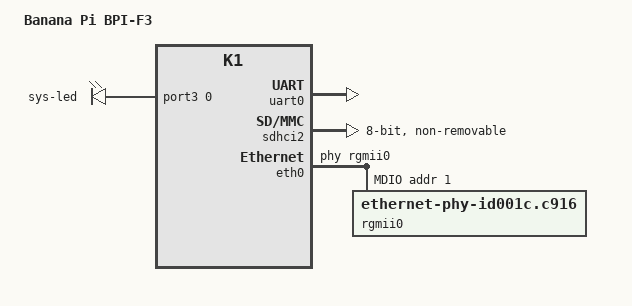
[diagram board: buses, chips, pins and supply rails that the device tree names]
// SPDX-License-Identifier: GPL-2.0 OR MIT
/*
 * Copyright (C) 2024 Yangyu Chen <cyy@cyyself.name>
 */

#include "k1.dtsi"
#include "k1-pinctrl.dtsi"

/ {
	model = "Banana Pi BPI-F3";
	compatible = "bananapi,bpi-f3", "spacemit,k1";

	aliases {
		serial0 = &uart0;
	};

	chosen {
		stdout-path = "serial0";
	};

	leds {
		compatible = "gpio-leds";

		led1 {
			label = "sys-led";
			gpios = <&port3 0 GPIO_ACTIVE_HIGH>;
			linux,default-trigger = "heartbeat";
			default-state = "on";
		};
	};
};

&uart0 {
	pinctrl-names = "default";
	pinctrl-0 = <&uart0_2_cfg>;
	status = "okay";
};

/* eMMC */
&sdhci2 {
	bus-width = <8>;
	non-removable;
	mmc-hs400-1_8v;
	mmc-hs400-enhanced-strobe;
	no-sd;
	no-sdio;
	spacemit,sdh-freq = <375000000>;
	status = "okay";
};

&eth0 {
	pinctrl-names = "default";
	pinctrl-0 = <&gmac0_cfg>;

	emac,reset-gpio = <&port3 14 0>;
	emac,reset-active-low;
	emac,reset-delays-us = <0 10000 100000>;

	/* store forward mode */
	tx-threshold = <1518>;
	rx-threshold = <12>;
	tx-ring-num = <1024>;
	rx-ring-num = <1024>;
	dma-burst-len = <5>;

	ref-clock-from-phy;

	clk-tuning-enable;
	clk-tuning-by-delayline;
	tx-phase = <60>;
	rx-phase = <73>;

//	nvmem-cells = <&mac_address0>;
//	nvmem-cell-names = "mac-address";

	phy-handle = <&rgmii0>;

	status = "okay";

	mdio-bus {
		#address-cells = <0x1>;
		#size-cells = <0x0>;
		rgmii0: phy@0 {
			compatible = "ethernet-phy-id001c.c916";
			device_type = "ethernet-phy";
			reg = <0x1>;
			phy-mode = "rgmii";
		};
	};
};
